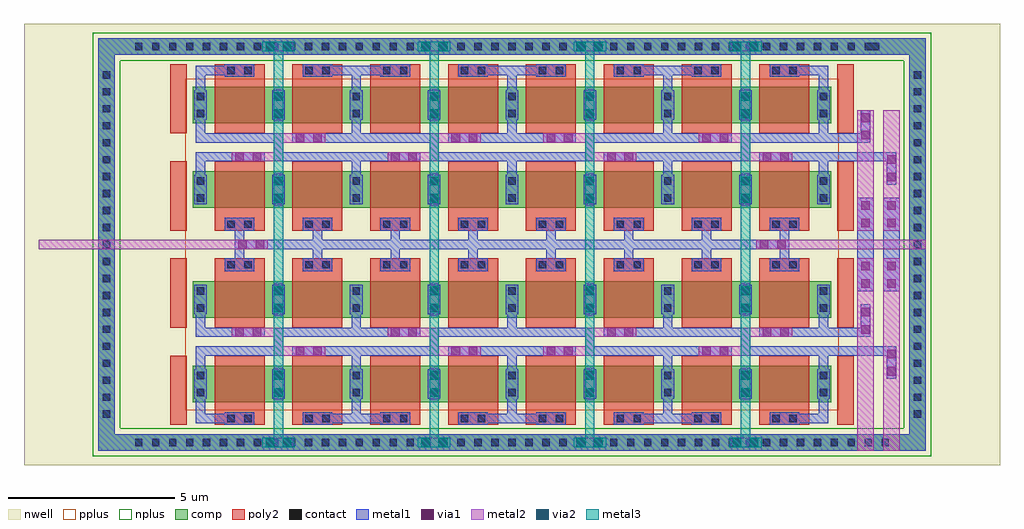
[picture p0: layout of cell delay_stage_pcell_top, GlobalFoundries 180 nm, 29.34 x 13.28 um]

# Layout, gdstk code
from math import pi, radians
import gdstk
lib = gdstk.Library(unit=1e-6, precision=5e-09)
def R(c, l, rs):  # rectangles x0, y0, x1, y1
    for r in rs: c.add(gdstk.rectangle(r[:2], r[2:], *l))
def A(c, l, x, y, w, h, nx, ny, dx, dy):  # array of equal rectangles
    R(c, l, [(x+i*dx, y+j*dy, x+i*dx+w, y+j*dy+h) for i in range(nx) for j in range(ny)])
nwell = (21, 0)
comp = (22, 0)
poly2 = (30, 0)
pplus = (31, 0)
nplus = (32, 0)
contact = (33, 0)
metal1 = (34, 0)
via1 = (35, 0)
metal2 = (36, 0)
via2 = (38, 0)
metal3 = (42, 0)

delay_stage_pcell_1_2_2 = lib.new_cell('delay_stage_pcell_1$2$2')
R(delay_stage_pcell_1_2_2, comp, [(0.17,0.3,0.63,1.4), (0.63,0.3,2.51,1.4), (2.51,0.3,2.97,1.4)])
R(delay_stage_pcell_1_2_2, poly2, [(0.82,0,2.32,1.7)])
R(delay_stage_pcell_1_2_2, contact, [(0.29,0.485,0.51,0.705), (2.63,0.485,2.85,0.705), (0.29,0.995,0.51,1.215), (2.63,0.995,2.85,1.215)])
R(delay_stage_pcell_1_2_2, metal1, [(0.21,0.405,0.59,1.295), (2.55,0.405,2.93,1.295)])

delay_stage_pcell_4_2 = lib.new_cell('delay_stage_pcell_4$2')
delay_stage_pcell_4_2.add(gdstk.Reference(delay_stage_pcell_1_2_2, (-0.17,0)))
delay_stage_pcell_4_2.add(gdstk.Reference(delay_stage_pcell_1_2_2, (2.17,0)))
delay_stage_pcell_4_2.add(gdstk.Reference(delay_stage_pcell_1_2_2, (4.51,0)))
delay_stage_pcell_4_2.add(gdstk.Reference(delay_stage_pcell_1_2_2, (6.85,0)))

delay_stage_pcell_4_4 = lib.new_cell('delay_stage_pcell_4_4')
R(delay_stage_pcell_4_4, poly2, [(0.65,0,2.15,0.38), (0.65,0,2.15,0.38), (2.99,0,4.49,0.38), (2.99,0,4.49,0.38), (5.33,0,6.83,0.38), (5.33,0,6.83,0.38), (7.67,0,9.17,0.38), (7.67,0,9.17,0.38), (0.65,4.62,2.15,5), (0.65,4.62,2.15,5), (2.99,4.62,4.49,5), (2.99,4.62,4.49,5), (5.33,4.62,6.83,5), (5.33,4.62,6.83,5), (7.67,4.62,9.17,5), (7.67,4.62,9.17,5), (0.65,5.84,2.15,6.22), (0.65,5.84,2.15,6.22), (2.99,5.84,4.49,6.22), (2.99,5.84,4.49,6.22), (5.33,5.84,6.83,6.22), (5.33,5.84,6.83,6.22), (7.67,5.84,9.17,6.22), (7.67,5.84,9.17,6.22), (0.65,10.46,2.15,10.84), (0.65,10.46,2.15,10.84), (2.99,10.46,4.49,10.84), (2.99,10.46,4.49,10.84), (5.33,10.46,6.83,10.84), (5.33,10.46,6.83,10.84), (7.67,10.46,9.17,10.84), (7.67,10.46,9.17,10.84)])
R(delay_stage_pcell_4_4, contact, [(1.035,0.08,1.255,0.3), (1.035,0.08,1.255,0.3), (1.545,0.08,1.765,0.3), (1.545,0.08,1.765,0.3), (3.375,0.08,3.595,0.3), (3.375,0.08,3.595,0.3), (3.885,0.08,4.105,0.3), (3.885,0.08,4.105,0.3), (5.715,0.08,5.935,0.3), (5.715,0.08,5.935,0.3), (6.225,0.08,6.445,0.3), (6.225,0.08,6.445,0.3), (8.055,0.08,8.275,0.3), (8.055,0.08,8.275,0.3), (8.565,0.08,8.785,0.3), (8.565,0.08,8.785,0.3), (1.035,4.7,1.255,4.92), (1.035,4.7,1.255,4.92), (1.545,4.7,1.765,4.92), (1.545,4.7,1.765,4.92), (3.375,4.7,3.595,4.92), (3.375,4.7,3.595,4.92), (3.885,4.7,4.105,4.92), (3.885,4.7,4.105,4.92), (5.715,4.7,5.935,4.92), (5.715,4.7,5.935,4.92), (6.225,4.7,6.445,4.92), (6.225,4.7,6.445,4.92), (8.055,4.7,8.275,4.92), (8.055,4.7,8.275,4.92), (8.565,4.7,8.785,4.92), (8.565,4.7,8.785,4.92), (1.035,5.92,1.255,6.14), (1.035,5.92,1.255,6.14), (1.545,5.92,1.765,6.14), (1.545,5.92,1.765,6.14), (3.375,5.92,3.595,6.14), (3.375,5.92,3.595,6.14), (3.885,5.92,4.105,6.14), (3.885,5.92,4.105,6.14), (5.715,5.92,5.935,6.14), (5.715,5.92,5.935,6.14), (6.225,5.92,6.445,6.14), (6.225,5.92,6.445,6.14), (8.055,5.92,8.275,6.14), (8.055,5.92,8.275,6.14), (8.565,5.92,8.785,6.14), (8.565,5.92,8.785,6.14), (1.035,10.54,1.255,10.76), (1.035,10.54,1.255,10.76), (1.545,10.54,1.765,10.76), (1.545,10.54,1.765,10.76), (3.375,10.54,3.595,10.76), (3.375,10.54,3.595,10.76), (3.885,10.54,4.105,10.76), (3.885,10.54,4.105,10.76), (5.715,10.54,5.935,10.76), (5.715,10.54,5.935,10.76), (6.225,10.54,6.445,10.76), (6.225,10.54,6.445,10.76), (8.055,10.54,8.275,10.76), (8.055,10.54,8.275,10.76), (8.565,10.54,8.785,10.76), (8.565,10.54,8.785,10.76)])
R(delay_stage_pcell_4_4, metal1, [(0.955,0,1.845,0.38), (3.295,0,4.185,0.38), (3.295,0,4.185,0.38), (5.635,0,6.525,0.38), (5.635,0,6.525,0.38), (7.975,0,8.865,0.38), (0.955,4.62,1.845,5), (0.955,4.62,1.845,5), (3.295,4.62,4.185,5), (3.295,4.62,4.185,5), (5.635,4.62,6.525,5), (5.635,4.62,6.525,5), (7.975,4.62,8.865,5), (0.955,5.84,1.845,6.22), (0.955,5.84,1.845,6.22), (3.295,5.84,4.185,6.22), (3.295,5.84,4.185,6.22), (5.635,5.84,6.525,6.22), (5.635,5.84,6.525,6.22), (7.975,5.84,8.865,6.22), (7.975,5.84,8.865,6.22), (0.955,10.46,1.845,10.84), (3.295,10.46,4.185,10.84), (3.295,10.46,4.185,10.84), (5.635,10.46,6.525,10.84), (5.635,10.46,6.525,10.84), (7.975,10.46,8.865,10.84)])
R(delay_stage_pcell_4_4, via1, [(2.44,0.84,2.7,1.1), (7.12,0.84,7.38,1.1), (2.44,1.36,2.7,1.62), (7.12,1.36,7.38,1.62), (1.27,2.09,1.53,2.35), (1.27,2.09,1.53,2.35), (1.79,2.09,2.05,2.35), (1.79,2.09,2.05,2.35), (5.95,2.09,6.21,2.35), (5.95,2.09,6.21,2.35), (6.47,2.09,6.73,2.35), (6.47,2.09,6.73,2.35), (3.09,2.65,3.35,2.91), (3.09,2.65,3.35,2.91), (3.61,2.65,3.87,2.91), (3.61,2.65,3.87,2.91), (7.77,2.65,8.03,2.91), (7.77,2.65,8.03,2.91), (8.29,2.65,8.55,2.91), (8.29,2.65,8.55,2.91), (2.44,3.38,2.7,3.64), (7.12,3.38,7.38,3.64), (2.44,3.9,2.7,4.16), (7.12,3.9,7.38,4.16), (2.44,6.68,2.7,6.94), (7.12,6.68,7.38,6.94), (2.44,7.2,2.7,7.46), (7.12,7.2,7.38,7.46), (3.09,7.93,3.35,8.19), (3.09,7.93,3.35,8.19), (3.61,7.93,3.87,8.19), (3.61,7.93,3.87,8.19), (7.77,7.93,8.03,8.19), (7.77,7.93,8.03,8.19), (8.29,7.93,8.55,8.19), (8.29,7.93,8.55,8.19), (1.27,8.49,1.53,8.75), (1.27,8.49,1.53,8.75), (1.79,8.49,2.05,8.75), (1.79,8.49,2.05,8.75), (5.95,8.49,6.21,8.75), (5.95,8.49,6.21,8.75), (6.47,8.49,6.73,8.75), (6.47,8.49,6.73,8.75), (2.44,9.22,2.7,9.48), (7.12,9.22,7.38,9.48), (2.44,9.74,2.7,10), (7.12,9.74,7.38,10)])
R(delay_stage_pcell_4_4, via2, [(2.44,0.84,2.7,1.1), (7.12,0.84,7.38,1.1), (2.44,1.36,2.7,1.62), (7.12,1.36,7.38,1.62), (2.44,3.38,2.7,3.64), (7.12,3.38,7.38,3.64), (2.44,3.9,2.7,4.16), (7.12,3.9,7.38,4.16), (2.44,6.68,2.7,6.94), (7.12,6.68,7.38,6.94), (2.44,7.2,2.7,7.46), (7.12,7.2,7.38,7.46), (2.44,9.22,2.7,9.48), (7.12,9.22,7.38,9.48), (2.44,9.74,2.7,10), (7.12,9.74,7.38,10)])
delay_stage_pcell_4_4.add(gdstk.FlexPath([(8.56,5.42),(0.23,5.42)], 0.28, ends="flush", simple_path=True, layer=34, datatype=0))  # metal1
delay_stage_pcell_4_4.add(gdstk.FlexPath([(4.185,10.65),(5.635,10.65)], 0.28, ends="flush", simple_path=True, layer=34, datatype=0))  # metal1
delay_stage_pcell_4_4.add(gdstk.FlexPath([(4.91,10.055),(4.91,10.51)], 0.28, ends="flush", simple_path=True, layer=34, datatype=0))  # metal1
delay_stage_pcell_4_4.add(gdstk.FlexPath([(0.955,10.65),(0.23,10.65),(0.23,10.055)], 0.28, ends="flush", simple_path=True, layer=34, datatype=0))  # metal1
delay_stage_pcell_4_4.add(gdstk.FlexPath([(8.865,10.65),(9.59,10.65),(9.59,10.055)], 0.28, ends="flush", simple_path=True, layer=34, datatype=0))  # metal1
delay_stage_pcell_4_4.add(gdstk.FlexPath([(4.185,0.19),(5.635,0.19)], 0.28, ends="flush", simple_path=True, layer=34, datatype=0))  # metal1
delay_stage_pcell_4_4.add(gdstk.FlexPath([(4.91,0.785),(4.91,0.33)], 0.28, ends="flush", simple_path=True, layer=34, datatype=0))  # metal1
delay_stage_pcell_4_4.add(gdstk.FlexPath([(0.955,0.19),(0.23,0.19),(0.23,0.785)], 0.28, ends="flush", simple_path=True, layer=34, datatype=0))  # metal1
delay_stage_pcell_4_4.add(gdstk.FlexPath([(8.865,0.19),(9.59,0.19),(9.59,0.785)], 0.28, ends="flush", simple_path=True, layer=34, datatype=0))  # metal1
delay_stage_pcell_4_4.add(gdstk.FlexPath([(9.59,1.675),(9.59,2.22),(8.65,2.22)], 0.28, ends="flush", simple_path=True, layer=34, datatype=0))  # metal1
delay_stage_pcell_4_4.add(gdstk.FlexPath([(9.59,1.675),(9.59,2.22),(8.65,2.22)], 0.28, ends="flush", simple_path=True, layer=34, datatype=0))  # metal1
delay_stage_pcell_4_4.add(gdstk.FlexPath([(4.91,1.675),(4.91,2.08)], 0.28, ends="flush", simple_path=True, layer=34, datatype=0))  # metal1
delay_stage_pcell_4_4.add(gdstk.FlexPath([(4.91,1.675),(4.91,2.08)], 0.28, ends="flush", simple_path=True, layer=34, datatype=0))  # metal1
delay_stage_pcell_4_4.add(gdstk.FlexPath([(0.23,1.675),(0.23,2.22),(1.17,2.22)], 0.28, ends="flush", simple_path=True, layer=34, datatype=0))  # metal1
delay_stage_pcell_4_4.add(gdstk.FlexPath([(0.23,1.675),(0.23,2.22),(1.17,2.22)], 0.28, ends="flush", simple_path=True, layer=34, datatype=0))  # metal1
delay_stage_pcell_4_4.add(gdstk.FlexPath([(8.65,2.22),(7.25,2.22),(7.25,2.78),(5.85,2.78)], 0.28, ends="flush", simple_path=True, layer=34, datatype=0))  # metal1
delay_stage_pcell_4_4.add(gdstk.FlexPath([(8.65,2.22),(7.25,2.22),(7.25,2.78),(5.85,2.78)], 0.28, ends="flush", simple_path=True, layer=34, datatype=0))  # metal1
delay_stage_pcell_4_4.add(gdstk.FlexPath([(6.83,2.22),(5.85,2.22)], 0.28, ends="flush", simple_path=True, layer=34, datatype=0))  # metal1
delay_stage_pcell_4_4.add(gdstk.FlexPath([(6.83,2.22),(5.85,2.22)], 0.28, ends="flush", simple_path=True, layer=34, datatype=0))  # metal1
delay_stage_pcell_4_4.add(gdstk.FlexPath([(3.97,2.22),(5.85,2.22)], 0.28, ends="flush", simple_path=True, layer=34, datatype=0))  # metal1
delay_stage_pcell_4_4.add(gdstk.FlexPath([(3.97,2.22),(5.85,2.22)], 0.28, ends="flush", simple_path=True, layer=34, datatype=0))  # metal1
delay_stage_pcell_4_4.add(gdstk.FlexPath([(3.97,2.22),(2.57,2.22),(2.57,2.78),(1.17,2.78)], 0.28, ends="flush", simple_path=True, layer=34, datatype=0))  # metal1
delay_stage_pcell_4_4.add(gdstk.FlexPath([(3.97,2.22),(2.57,2.22),(2.57,2.78),(1.17,2.78)], 0.28, ends="flush", simple_path=True, layer=34, datatype=0))  # metal1
delay_stage_pcell_4_4.add(gdstk.FlexPath([(2.15,2.22),(1.17,2.22)], 0.28, ends="flush", simple_path=True, layer=34, datatype=0))  # metal1
delay_stage_pcell_4_4.add(gdstk.FlexPath([(2.15,2.22),(1.17,2.22)], 0.28, ends="flush", simple_path=True, layer=34, datatype=0))  # metal1
delay_stage_pcell_4_4.add(gdstk.FlexPath([(8.65,2.78),(7.67,2.78)], 0.28, ends="flush", simple_path=True, layer=34, datatype=0))  # metal1
delay_stage_pcell_4_4.add(gdstk.FlexPath([(8.65,2.78),(7.67,2.78)], 0.28, ends="flush", simple_path=True, layer=34, datatype=0))  # metal1
delay_stage_pcell_4_4.add(gdstk.FlexPath([(3.97,2.78),(5.85,2.78)], 0.28, ends="flush", simple_path=True, layer=34, datatype=0))  # metal1
delay_stage_pcell_4_4.add(gdstk.FlexPath([(3.97,2.78),(5.85,2.78)], 0.28, ends="flush", simple_path=True, layer=34, datatype=0))  # metal1
delay_stage_pcell_4_4.add(gdstk.FlexPath([(3.97,2.78),(2.99,2.78)], 0.28, ends="flush", simple_path=True, layer=34, datatype=0))  # metal1
delay_stage_pcell_4_4.add(gdstk.FlexPath([(3.97,2.78),(2.99,2.78)], 0.28, ends="flush", simple_path=True, layer=34, datatype=0))  # metal1
delay_stage_pcell_4_4.add(gdstk.FlexPath([(1.17,2.78),(0.23,2.78),(0.23,3.325)], 0.28, ends="flush", simple_path=True, layer=34, datatype=0))  # metal1
delay_stage_pcell_4_4.add(gdstk.FlexPath([(1.17,2.78),(0.23,2.78),(0.23,3.325)], 0.28, ends="flush", simple_path=True, layer=34, datatype=0))  # metal1
delay_stage_pcell_4_4.add(gdstk.FlexPath([(9.59,3.325),(9.59,2.78),(8.65,2.78)], 0.28, ends="flush", simple_path=True, layer=34, datatype=0))  # metal1
delay_stage_pcell_4_4.add(gdstk.FlexPath([(9.59,3.325),(9.59,2.78),(8.65,2.78)], 0.28, ends="flush", simple_path=True, layer=34, datatype=0))  # metal1
delay_stage_pcell_4_4.add(gdstk.FlexPath([(4.91,3.325),(4.91,2.92)], 0.28, ends="flush", simple_path=True, layer=34, datatype=0))  # metal1
delay_stage_pcell_4_4.add(gdstk.FlexPath([(4.91,3.325),(4.91,2.92)], 0.28, ends="flush", simple_path=True, layer=34, datatype=0))  # metal1
delay_stage_pcell_4_4.add(gdstk.FlexPath([(9.59,7.515),(9.59,8.06),(8.65,8.06)], 0.28, ends="flush", simple_path=True, layer=34, datatype=0))  # metal1
delay_stage_pcell_4_4.add(gdstk.FlexPath([(9.59,9.165),(9.59,8.62),(8.65,8.62)], 0.28, ends="flush", simple_path=True, layer=34, datatype=0))  # metal1
delay_stage_pcell_4_4.add(gdstk.FlexPath([(4.91,9.165),(4.91,8.76)], 0.28, ends="flush", simple_path=True, layer=34, datatype=0))  # metal1
delay_stage_pcell_4_4.add(gdstk.FlexPath([(4.91,7.515),(4.91,7.92)], 0.28, ends="flush", simple_path=True, layer=34, datatype=0))  # metal1
delay_stage_pcell_4_4.add(gdstk.FlexPath([(1.17,8.06),(0.23,8.06),(0.23,7.515)], 0.28, ends="flush", simple_path=True, layer=34, datatype=0))  # metal1
delay_stage_pcell_4_4.add(gdstk.FlexPath([(0.23,9.165),(0.23,8.62),(1.17,8.62)], 0.28, ends="flush", simple_path=True, layer=34, datatype=0))  # metal1
delay_stage_pcell_4_4.add(gdstk.FlexPath([(8.65,8.62),(7.25,8.62),(7.25,8.06),(5.85,8.06)], 0.28, ends="flush", simple_path=True, layer=34, datatype=0))  # metal1
delay_stage_pcell_4_4.add(gdstk.FlexPath([(3.97,8.62),(2.57,8.62),(2.57,8.06),(1.17,8.06)], 0.28, ends="flush", simple_path=True, layer=34, datatype=0))  # metal1
delay_stage_pcell_4_4.add(gdstk.FlexPath([(2.15,8.62),(1.17,8.62)], 0.28, ends="flush", simple_path=True, layer=34, datatype=0))  # metal1
delay_stage_pcell_4_4.add(gdstk.FlexPath([(3.97,8.06),(2.99,8.06)], 0.28, ends="flush", simple_path=True, layer=34, datatype=0))  # metal1
delay_stage_pcell_4_4.add(gdstk.FlexPath([(8.65,8.06),(7.67,8.06)], 0.28, ends="flush", simple_path=True, layer=34, datatype=0))  # metal1
delay_stage_pcell_4_4.add(gdstk.FlexPath([(6.83,8.62),(5.85,8.62)], 0.28, ends="flush", simple_path=True, layer=34, datatype=0))  # metal1
delay_stage_pcell_4_4.add(gdstk.FlexPath([(3.97,8.62),(5.85,8.62)], 0.28, ends="flush", simple_path=True, layer=34, datatype=0))  # metal1
delay_stage_pcell_4_4.add(gdstk.FlexPath([(3.97,8.06),(5.85,8.06)], 0.28, ends="flush", simple_path=True, layer=34, datatype=0))  # metal1
delay_stage_pcell_4_4.add(gdstk.FlexPath([(3.97,8.06),(5.85,8.06)], 0.28, ends="flush", simple_path=True, layer=34, datatype=0))  # metal1
delay_stage_pcell_4_4.add(gdstk.FlexPath([(3.97,8.62),(5.85,8.62)], 0.28, ends="flush", simple_path=True, layer=34, datatype=0))  # metal1
delay_stage_pcell_4_4.add(gdstk.FlexPath([(6.83,8.62),(5.85,8.62)], 0.28, ends="flush", simple_path=True, layer=34, datatype=0))  # metal1
delay_stage_pcell_4_4.add(gdstk.FlexPath([(8.65,8.06),(7.67,8.06)], 0.28, ends="flush", simple_path=True, layer=34, datatype=0))  # metal1
delay_stage_pcell_4_4.add(gdstk.FlexPath([(3.97,8.06),(2.99,8.06)], 0.28, ends="flush", simple_path=True, layer=34, datatype=0))  # metal1
delay_stage_pcell_4_4.add(gdstk.FlexPath([(2.15,8.62),(1.17,8.62)], 0.28, ends="flush", simple_path=True, layer=34, datatype=0))  # metal1
delay_stage_pcell_4_4.add(gdstk.FlexPath([(3.97,8.62),(2.57,8.62),(2.57,8.06),(1.17,8.06)], 0.28, ends="flush", simple_path=True, layer=34, datatype=0))  # metal1
delay_stage_pcell_4_4.add(gdstk.FlexPath([(8.65,8.62),(7.25,8.62),(7.25,8.06),(5.85,8.06)], 0.28, ends="flush", simple_path=True, layer=34, datatype=0))  # metal1
delay_stage_pcell_4_4.add(gdstk.FlexPath([(0.23,9.165),(0.23,8.62),(1.17,8.62)], 0.28, ends="flush", simple_path=True, layer=34, datatype=0))  # metal1
delay_stage_pcell_4_4.add(gdstk.FlexPath([(1.17,8.06),(0.23,8.06),(0.23,7.515)], 0.28, ends="flush", simple_path=True, layer=34, datatype=0))  # metal1
delay_stage_pcell_4_4.add(gdstk.FlexPath([(4.91,7.515),(4.91,7.92)], 0.28, ends="flush", simple_path=True, layer=34, datatype=0))  # metal1
delay_stage_pcell_4_4.add(gdstk.FlexPath([(4.91,9.165),(4.91,8.76)], 0.28, ends="flush", simple_path=True, layer=34, datatype=0))  # metal1
delay_stage_pcell_4_4.add(gdstk.FlexPath([(9.59,9.165),(9.59,8.62),(8.65,8.62)], 0.28, ends="flush", simple_path=True, layer=34, datatype=0))  # metal1
delay_stage_pcell_4_4.add(gdstk.FlexPath([(9.59,7.515),(9.59,8.06),(8.65,8.06)], 0.28, ends="flush", simple_path=True, layer=34, datatype=0))  # metal1
delay_stage_pcell_4_4.add(gdstk.FlexPath([(8.42,5),(8.42,5.28)], 0.28, ends="flush", simple_path=True, layer=34, datatype=0))  # metal1
delay_stage_pcell_4_4.add(gdstk.FlexPath([(8.42,5.84),(8.42,5.56)], 0.28, ends="flush", simple_path=True, layer=34, datatype=0))  # metal1
delay_stage_pcell_4_4.add(gdstk.FlexPath([(6.08,5),(6.08,5.28)], 0.28, ends="flush", simple_path=True, layer=34, datatype=0))  # metal1
delay_stage_pcell_4_4.add(gdstk.FlexPath([(6.08,5.84),(6.08,5.56)], 0.28, ends="flush", simple_path=True, layer=34, datatype=0))  # metal1
delay_stage_pcell_4_4.add(gdstk.FlexPath([(3.74,5),(3.74,5.28)], 0.28, ends="flush", simple_path=True, layer=34, datatype=0))  # metal1
delay_stage_pcell_4_4.add(gdstk.FlexPath([(3.74,5.84),(3.74,5.56)], 0.28, ends="flush", simple_path=True, layer=34, datatype=0))  # metal1
delay_stage_pcell_4_4.add(gdstk.FlexPath([(1.4,5),(1.4,5.28)], 0.28, ends="flush", simple_path=True, layer=34, datatype=0))  # metal1
delay_stage_pcell_4_4.add(gdstk.FlexPath([(1.4,5.84),(1.4,5.56)], 0.28, ends="flush", simple_path=True, layer=34, datatype=0))  # metal1
delay_stage_pcell_4_4.add(gdstk.FlexPath([(8.65,2.78),(7.25,2.78),(7.25,2.22),(5.85,2.22)], 0.28, ends="flush", simple_path=True, layer=36, datatype=0))  # metal2
delay_stage_pcell_4_4.add(gdstk.FlexPath([(8.65,2.78),(7.25,2.78),(7.25,2.22),(5.85,2.22)], 0.28, ends="flush", simple_path=True, layer=36, datatype=0))  # metal2
delay_stage_pcell_4_4.add(gdstk.FlexPath([(3.97,2.78),(2.57,2.78),(2.57,2.22),(1.17,2.22)], 0.28, ends="flush", simple_path=True, layer=36, datatype=0))  # metal2
delay_stage_pcell_4_4.add(gdstk.FlexPath([(3.97,2.78),(2.57,2.78),(2.57,2.22),(1.17,2.22)], 0.28, ends="flush", simple_path=True, layer=36, datatype=0))  # metal2
delay_stage_pcell_4_4.add(gdstk.FlexPath([(3.97,8.06),(2.57,8.06),(2.57,8.62),(1.17,8.62)], 0.28, ends="flush", simple_path=True, layer=36, datatype=0))  # metal2
delay_stage_pcell_4_4.add(gdstk.FlexPath([(8.65,8.06),(7.25,8.06),(7.25,8.62),(5.85,8.62)], 0.28, ends="flush", simple_path=True, layer=36, datatype=0))  # metal2
delay_stage_pcell_4_4.add(gdstk.FlexPath([(8.65,8.06),(7.25,8.06),(7.25,8.62),(5.85,8.62)], 0.28, ends="flush", simple_path=True, layer=36, datatype=0))  # metal2
delay_stage_pcell_4_4.add(gdstk.FlexPath([(3.97,8.06),(2.57,8.06),(2.57,8.62),(1.17,8.62)], 0.28, ends="flush", simple_path=True, layer=36, datatype=0))  # metal2
delay_stage_pcell_4_4.add(gdstk.FlexPath([(7.25,6.58),(7.25,7.56)], 0.28, ends="flush", simple_path=True, layer=36, datatype=0))  # metal2
delay_stage_pcell_4_4.add(gdstk.FlexPath([(7.25,9.12),(7.25,10.1)], 0.28, ends="flush", simple_path=True, layer=36, datatype=0))  # metal2
delay_stage_pcell_4_4.add(gdstk.FlexPath([(2.57,6.58),(2.57,7.56)], 0.28, ends="flush", simple_path=True, layer=36, datatype=0))  # metal2
delay_stage_pcell_4_4.add(gdstk.FlexPath([(7.25,3.28),(7.25,4.26)], 0.28, ends="flush", simple_path=True, layer=36, datatype=0))  # metal2
delay_stage_pcell_4_4.add(gdstk.FlexPath([(2.57,3.28),(2.57,4.26)], 0.28, ends="flush", simple_path=True, layer=36, datatype=0))  # metal2
delay_stage_pcell_4_4.add(gdstk.FlexPath([(7.25,0.74),(7.25,1.72)], 0.28, ends="flush", simple_path=True, layer=36, datatype=0))  # metal2
delay_stage_pcell_4_4.add(gdstk.FlexPath([(2.57,0.74),(2.57,1.72)], 0.28, ends="flush", simple_path=True, layer=36, datatype=0))  # metal2
delay_stage_pcell_4_4.add(gdstk.FlexPath([(2.57,9.12),(2.57,10.1)], 0.28, ends="flush", simple_path=True, layer=36, datatype=0))  # metal2
delay_stage_pcell_4_4.add(gdstk.FlexPath([(7.25,6.58),(7.25,7.56)], 0.28, ends="flush", simple_path=True, layer=42, datatype=0))  # metal3
delay_stage_pcell_4_4.add(gdstk.FlexPath([(7.25,9.12),(7.25,10.1)], 0.28, ends="flush", simple_path=True, layer=42, datatype=0))  # metal3
delay_stage_pcell_4_4.add(gdstk.FlexPath([(2.57,6.58),(2.57,7.56)], 0.28, ends="flush", simple_path=True, layer=42, datatype=0))  # metal3
delay_stage_pcell_4_4.add(gdstk.FlexPath([(7.25,3.28),(7.25,4.26)], 0.28, ends="flush", simple_path=True, layer=42, datatype=0))  # metal3
delay_stage_pcell_4_4.add(gdstk.FlexPath([(2.57,3.28),(2.57,4.26)], 0.28, ends="flush", simple_path=True, layer=42, datatype=0))  # metal3
delay_stage_pcell_4_4.add(gdstk.FlexPath([(7.25,0.74),(7.25,1.72)], 0.28, ends="flush", simple_path=True, layer=42, datatype=0))  # metal3
delay_stage_pcell_4_4.add(gdstk.FlexPath([(2.57,0.74),(2.57,1.72)], 0.28, ends="flush", simple_path=True, layer=42, datatype=0))  # metal3
delay_stage_pcell_4_4.add(gdstk.FlexPath([(2.57,9.12),(2.57,10.1)], 0.28, ends="flush", simple_path=True, layer=42, datatype=0))  # metal3
delay_stage_pcell_4_4.add(gdstk.Reference(delay_stage_pcell_4_2, (9.82,7.92), rotation=pi))
delay_stage_pcell_4_4.add(gdstk.Reference(delay_stage_pcell_4_2, (9.82,2.08), rotation=pi))
delay_stage_pcell_4_4.add(gdstk.Reference(delay_stage_pcell_4_2, (9.82,8.76), rotation=pi, x_reflection=True))
delay_stage_pcell_4_4.add(gdstk.Reference(delay_stage_pcell_4_2, (9.82,2.92), rotation=pi, x_reflection=True))

m1_m2 = lib.new_cell('M1_M2')
R(m1_m2, via1, [(0.1,0.01,0.36,0.27), (0.62,0.01,0.88,0.27)])
m1_m2.add(gdstk.FlexPath([(0,0.14),(0.98,0.14)], 0.28, ends="flush", simple_path=True, layer=34, datatype=0))  # metal1
m1_m2.add(gdstk.FlexPath([(0,0.14),(0.98,0.14)], 0.28, ends="flush", simple_path=True, layer=36, datatype=0))  # metal2

delay_stage_pcell_top = lib.new_cell('delay_stage_pcell_top')
R(delay_stage_pcell_top, nwell, [(0,0,29.34,13.28)])
A(delay_stage_pcell_top, poly2, 4.39, 1.22, 0.5, 2.08, 1, 4, 0, 2.92)
A(delay_stage_pcell_top, poly2, 24.45, 1.22, 0.5, 2.08, 1, 4, 0, 2.92)
R(delay_stage_pcell_top, pplus, [(4.84,1.66,24.5,11.62)])
A(delay_stage_pcell_top, contact, 3.34, 0.58, 0.22, 0.22, 45, 1, 0.51, 0)
A(delay_stage_pcell_top, contact, 2.37, 1.43, 0.22, 0.22, 1, 21, 0, 0.51)
A(delay_stage_pcell_top, contact, 26.75, 1.43, 0.22, 0.22, 1, 21, 0, 0.51)
A(delay_stage_pcell_top, contact, 3.34, 12.48, 0.22, 0.22, 44, 1, 0.51, 0)
R(delay_stage_pcell_top, contact, [(25.49,12.48,25.71,12.7)])
R(delay_stage_pcell_top, via1, [(7.26,0.56,7.52,0.82), (7.78,0.56,8.04,0.82), (11.94,0.56,12.2,0.82), (12.46,0.56,12.72,0.82), (16.62,0.56,16.88,0.82), (17.14,0.56,17.4,0.82), (21.3,0.56,21.56,0.82), (21.82,0.56,22.08,0.82), (25.95,2.7,26.21,2.96), (25.95,2.7,26.21,2.96), (25.95,3.22,26.21,3.48), (25.95,3.22,26.21,3.48), (25.17,3.96,25.43,4.22), (25.17,3.96,25.43,4.22), (25.17,4.48,25.43,4.74), (25.17,4.48,25.43,4.74), (25.17,5.34,25.43,5.6), (25.17,5.34,25.43,5.6), (25.95,5.34,26.21,5.6), (25.95,5.34,26.21,5.6), (25.17,5.86,25.43,6.12), (25.17,5.86,25.43,6.12), (25.95,5.86,26.21,6.12), (25.95,5.86,26.21,6.12), (25.17,7.16,25.43,7.42), (25.17,7.16,25.43,7.42), (25.95,7.16,26.21,7.42), (25.95,7.16,26.21,7.42), (25.17,7.68,25.43,7.94), (25.17,7.68,25.43,7.94), (25.95,7.68,26.21,7.94), (25.95,7.68,26.21,7.94), (25.95,8.54,26.21,8.8), (25.95,8.54,26.21,8.8), (25.95,9.06,26.21,9.32), (25.95,9.06,26.21,9.32), (7.26,12.46,7.52,12.72), (7.78,12.46,8.04,12.72), (11.94,12.46,12.2,12.72), (12.46,12.46,12.72,12.72), (16.62,12.46,16.88,12.72), (17.14,12.46,17.4,12.72), (21.3,12.46,21.56,12.72), (21.82,12.46,22.08,12.72)])
R(delay_stage_pcell_top, via2, [(7.26,0.56,7.52,0.82), (7.78,0.56,8.04,0.82), (11.94,0.56,12.2,0.82), (12.46,0.56,12.72,0.82), (16.62,0.56,16.88,0.82), (17.14,0.56,17.4,0.82), (21.3,0.56,21.56,0.82), (21.82,0.56,22.08,0.82), (7.26,12.46,7.52,12.72), (7.78,12.46,8.04,12.72), (11.94,12.46,12.2,12.72), (12.46,12.46,12.72,12.72), (16.62,12.46,16.88,12.72), (17.14,12.46,17.4,12.72), (21.3,12.46,21.56,12.72), (21.82,12.46,22.08,12.72)])
delay_stage_pcell_top.add(gdstk.FlexPath([(26.08,2.6),(26.08,3.58)], 0.28, ends="flush", simple_path=True, layer=34, datatype=0))  # metal1
delay_stage_pcell_top.add(gdstk.FlexPath([(26.08,2.6),(26.08,3.58)], 0.28, ends="flush", simple_path=True, layer=34, datatype=0))  # metal1
delay_stage_pcell_top.add(gdstk.FlexPath([(26.08,5.24),(26.08,8.04)], 0.5, ends="flush", simple_path=True, layer=34, datatype=0))  # metal1
delay_stage_pcell_top.add(gdstk.FlexPath([(25.3,3.86),(25.3,4.84)], 0.28, ends="flush", simple_path=True, layer=34, datatype=0))  # metal1
delay_stage_pcell_top.add(gdstk.FlexPath([(25.3,3.86),(25.3,4.84)], 0.28, ends="flush", simple_path=True, layer=34, datatype=0))  # metal1
delay_stage_pcell_top.add(gdstk.FlexPath([(26.08,8.44),(26.08,9.42)], 0.28, ends="flush", simple_path=True, layer=34, datatype=0))  # metal1
delay_stage_pcell_top.add(gdstk.FlexPath([(26.08,8.44),(26.08,9.42)], 0.28, ends="flush", simple_path=True, layer=34, datatype=0))  # metal1
delay_stage_pcell_top.add(gdstk.FlexPath([(25.3,5.24),(25.3,6.22)], 0.28, ends="flush", simple_path=True, layer=34, datatype=0))  # metal1
delay_stage_pcell_top.add(gdstk.FlexPath([(25.3,5.24),(25.3,6.22)], 0.28, ends="flush", simple_path=True, layer=34, datatype=0))  # metal1
delay_stage_pcell_top.add(gdstk.FlexPath([(26.08,5.24),(26.08,6.22)], 0.28, ends="flush", simple_path=True, layer=34, datatype=0))  # metal1
delay_stage_pcell_top.add(gdstk.FlexPath([(26.08,5.24),(26.08,6.22)], 0.28, ends="flush", simple_path=True, layer=34, datatype=0))  # metal1
delay_stage_pcell_top.add(gdstk.FlexPath([(25.3,5.24),(25.3,8.04)], 0.5, ends="flush", simple_path=True, layer=34, datatype=0))  # metal1
delay_stage_pcell_top.add(gdstk.FlexPath([(25.3,7.06),(25.3,8.04)], 0.28, ends="flush", simple_path=True, layer=34, datatype=0))  # metal1
delay_stage_pcell_top.add(gdstk.FlexPath([(25.3,7.06),(25.3,8.04)], 0.28, ends="flush", simple_path=True, layer=34, datatype=0))  # metal1
delay_stage_pcell_top.add(gdstk.FlexPath([(26.08,7.06),(26.08,8.04)], 0.28, ends="flush", simple_path=True, layer=34, datatype=0))  # metal1
delay_stage_pcell_top.add(gdstk.FlexPath([(26.08,7.06),(26.08,8.04)], 0.28, ends="flush", simple_path=True, layer=34, datatype=0))  # metal1
delay_stage_pcell_top.add(gdstk.FlexPath([(24.17,9.84),(25.16,9.84)], 0.28, ends="flush", simple_path=True, layer=34, datatype=0))  # metal1
delay_stage_pcell_top.add(gdstk.FlexPath([(24.17,9.28),(25.94,9.28)], 0.28, ends="flush", simple_path=True, layer=34, datatype=0))  # metal1
delay_stage_pcell_top.add(gdstk.FlexPath([(24.17,4),(25.16,4)], 0.28, ends="flush", simple_path=True, layer=34, datatype=0))  # metal1
delay_stage_pcell_top.add(gdstk.FlexPath([(24.17,3.44),(25.94,3.44)], 0.28, ends="flush", simple_path=True, layer=34, datatype=0))  # metal1
delay_stage_pcell_top.add(gdstk.FlexPath([(26.86,12.84),(26.86,0.69),(2.48,0.69),(2.48,12.59),(27.11,12.59)], 0.5, ends="flush", simple_path=True, layer=34, datatype=0))  # metal1
delay_stage_pcell_top.add(gdstk.FlexPath([(26.86,12.84),(26.86,0.69),(2.48,0.69),(2.48,12.59),(27.11,12.59)], 0.5, ends="flush", simple_path=True, layer=22, datatype=0))  # comp
delay_stage_pcell_top.add(gdstk.FlexPath([(25.3,7.06),(25.3,10.68)], 0.5, ends="flush", simple_path=True, layer=36, datatype=0))  # metal2
delay_stage_pcell_top.add(gdstk.FlexPath([(25.3,0.44),(25.3,6.22)], 0.5, ends="flush", simple_path=True, layer=36, datatype=0))  # metal2
delay_stage_pcell_top.add(gdstk.FlexPath([(26.08,7.06),(26.08,10.68)], 0.5, ends="flush", simple_path=True, layer=36, datatype=0))  # metal2
delay_stage_pcell_top.add(gdstk.FlexPath([(26.08,0.44),(26.08,6.22)], 0.5, ends="flush", simple_path=True, layer=36, datatype=0))  # metal2
delay_stage_pcell_top.add(gdstk.FlexPath([(23,6.64),(27.11,6.64)], 0.28, ends="flush", simple_path=True, layer=36, datatype=0))  # metal2
delay_stage_pcell_top.add(gdstk.FlexPath([(21.2,0.69),(22.18,0.69)], 0.28, ends="flush", simple_path=True, layer=36, datatype=0))  # metal2
delay_stage_pcell_top.add(gdstk.FlexPath([(21.2,12.59),(22.18,12.59)], 0.28, ends="flush", simple_path=True, layer=36, datatype=0))  # metal2
delay_stage_pcell_top.add(gdstk.FlexPath([(16.52,0.69),(17.5,0.69)], 0.28, ends="flush", simple_path=True, layer=36, datatype=0))  # metal2
delay_stage_pcell_top.add(gdstk.FlexPath([(16.52,12.59),(17.5,12.59)], 0.28, ends="flush", simple_path=True, layer=36, datatype=0))  # metal2
delay_stage_pcell_top.add(gdstk.FlexPath([(11.84,0.69),(12.82,0.69)], 0.28, ends="flush", simple_path=True, layer=36, datatype=0))  # metal2
delay_stage_pcell_top.add(gdstk.FlexPath([(11.84,12.59),(12.82,12.59)], 0.28, ends="flush", simple_path=True, layer=36, datatype=0))  # metal2
delay_stage_pcell_top.add(gdstk.FlexPath([(7.16,0.69),(8.14,0.69)], 0.28, ends="flush", simple_path=True, layer=36, datatype=0))  # metal2
delay_stage_pcell_top.add(gdstk.FlexPath([(7.16,12.59),(8.14,12.59)], 0.28, ends="flush", simple_path=True, layer=36, datatype=0))  # metal2
delay_stage_pcell_top.add(gdstk.FlexPath([(6.34,6.64),(0.44,6.64)], 0.28, ends="flush", simple_path=True, layer=36, datatype=0))  # metal2
delay_stage_pcell_top.add(gdstk.FlexPath([(21.69,12.45),(21.69,0.83)], 0.28, ends="flush", simple_path=True, layer=42, datatype=0))  # metal3
delay_stage_pcell_top.add(gdstk.FlexPath([(21.2,0.69),(22.18,0.69)], 0.28, ends="flush", simple_path=True, layer=42, datatype=0))  # metal3
delay_stage_pcell_top.add(gdstk.FlexPath([(21.2,12.59),(22.18,12.59)], 0.28, ends="flush", simple_path=True, layer=42, datatype=0))  # metal3
delay_stage_pcell_top.add(gdstk.FlexPath([(17.01,12.45),(17.01,0.83)], 0.28, ends="flush", simple_path=True, layer=42, datatype=0))  # metal3
delay_stage_pcell_top.add(gdstk.FlexPath([(16.52,0.69),(17.5,0.69)], 0.28, ends="flush", simple_path=True, layer=42, datatype=0))  # metal3
delay_stage_pcell_top.add(gdstk.FlexPath([(16.52,12.59),(17.5,12.59)], 0.28, ends="flush", simple_path=True, layer=42, datatype=0))  # metal3
delay_stage_pcell_top.add(gdstk.FlexPath([(12.33,12.45),(12.33,0.83)], 0.28, ends="flush", simple_path=True, layer=42, datatype=0))  # metal3
delay_stage_pcell_top.add(gdstk.FlexPath([(11.84,0.69),(12.82,0.69)], 0.28, ends="flush", simple_path=True, layer=42, datatype=0))  # metal3
delay_stage_pcell_top.add(gdstk.FlexPath([(11.84,12.59),(12.82,12.59)], 0.28, ends="flush", simple_path=True, layer=42, datatype=0))  # metal3
delay_stage_pcell_top.add(gdstk.FlexPath([(7.65,12.45),(7.65,0.83)], 0.28, ends="flush", simple_path=True, layer=42, datatype=0))  # metal3
delay_stage_pcell_top.add(gdstk.FlexPath([(7.16,0.69),(8.14,0.69)], 0.28, ends="flush", simple_path=True, layer=42, datatype=0))  # metal3
delay_stage_pcell_top.add(gdstk.FlexPath([(7.16,12.59),(8.14,12.59)], 0.28, ends="flush", simple_path=True, layer=42, datatype=0))  # metal3
delay_stage_pcell_top.add(gdstk.FlexPath([(26.86,13.01),(26.86,0.69),(2.48,0.69),(2.48,12.59),(27.28,12.59)], 0.84, ends="flush", simple_path=True, layer=32, datatype=0))  # nplus
delay_stage_pcell_top.add(gdstk.Reference(delay_stage_pcell_4_4, (14.9,1.22), rotation=pi, x_reflection=True))
delay_stage_pcell_top.add(gdstk.Reference(delay_stage_pcell_4_4, (14.44,1.22)))
delay_stage_pcell_top.add(gdstk.Reference(m1_m2, (6.34,6.5)))
delay_stage_pcell_top.add(gdstk.Reference(m1_m2, (25.16,10.68), rotation=3*pi/2))
delay_stage_pcell_top.add(gdstk.Reference(m1_m2, (23,6.5), rotation=pi, x_reflection=True))

lib.write_gds('delay_stage_pcell_top.gds')
